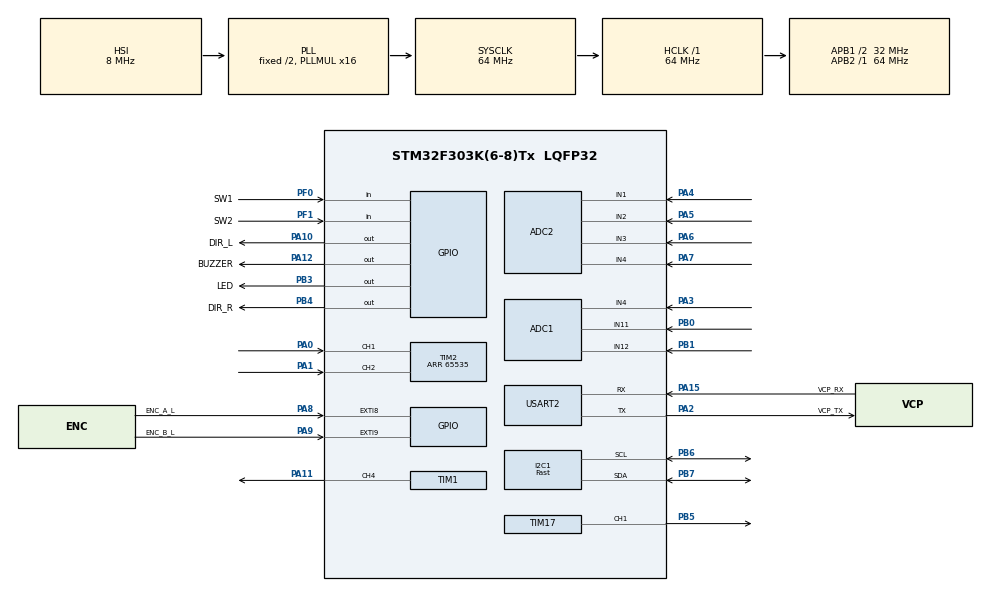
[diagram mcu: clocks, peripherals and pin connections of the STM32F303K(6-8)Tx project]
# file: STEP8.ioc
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ADC1.Channel-3\#ChannelRegularConversion=ADC_CHANNEL_4
ADC1.Channel-4\#ChannelRegularConversion=ADC_CHANNEL_11
ADC1.Channel-5\#ChannelRegularConversion=ADC_CHANNEL_12
ADC1.ContinuousConvMode=DISABLE
ADC1.DMAContinuousRequests=ENABLE
ADC1.DiscontinuousConvMode=ENABLE
ADC1.ExternalTrigConv=ADC_EXTERNALTRIGCONV_T3_TRGO
ADC1.NbrOfConversion=3
ADC1.NbrOfConversionFlag=1
ADC1.NbrOfDiscConversion=3
ADC1.Offset-3\#ChannelRegularConversion=0
ADC1.Offset-4\#ChannelRegularConversion=0
ADC1.Offset-5\#ChannelRegularConversion=0
ADC1.OffsetNumber-3\#ChannelRegularConversion=ADC_OFFSET_NONE
ADC1.OffsetNumber-4\#ChannelRegularConversion=ADC_OFFSET_NONE
ADC1.OffsetNumber-5\#ChannelRegularConversion=ADC_OFFSET_NONE
ADC1.Rank-3\#ChannelRegularConversion=1
ADC1.Rank-4\#ChannelRegularConversion=2
ADC1.Rank-5\#ChannelRegularConversion=3
ADC1.SamplingTime-3\#ChannelRegularConversion=ADC_SAMPLETIME_4CYCLES_5
ADC1.SamplingTime-4\#ChannelRegularConversion=ADC_SAMPLETIME_4CYCLES_5
ADC1.SamplingTime-5\#ChannelRegularConversion=ADC_SAMPLETIME_4CYCLES_5
ADC1.SubFamily=STM32F303x8
ADC1.master=1
ADC2.Channel-3\#ChannelRegularConversion=ADC_CHANNEL_1
ADC2.Channel-4\#ChannelRegularConversion=ADC_CHANNEL_2
ADC2.Channel-5\#ChannelRegularConversion=ADC_CHANNEL_3
ADC2.Channel-6\#ChannelRegularConversion=ADC_CHANNEL_4
ADC2.ContinuousConvMode=DISABLE
ADC2.DMAContinuousRequests=ENABLE
ADC2.DiscontinuousConvMode=ENABLE
ADC2.ExternalTrigConv=ADC_EXTERNALTRIGCONV_T3_TRGO
ADC2.NbrOfConversion=4
ADC2.NbrOfConversionFlag=1
ADC2.NbrOfDiscConversion=4
ADC2.Offset-3\#ChannelRegularConversion=0
ADC2.Offset-4\#ChannelRegularConversion=0
ADC2.Offset-5\#ChannelRegularConversion=0
ADC2.Offset-6\#ChannelRegularConversion=0
ADC2.OffsetNumber-3\#ChannelRegularConversion=ADC_OFFSET_NONE
ADC2.OffsetNumber-4\#ChannelRegularConversion=ADC_OFFSET_NONE
ADC2.OffsetNumber-5\#ChannelRegularConversion=ADC_OFFSET_NONE
ADC2.OffsetNumber-6\#ChannelRegularConversion=ADC_OFFSET_NONE
ADC2.Rank-3\#ChannelRegularConversion=1
ADC2.Rank-4\#ChannelRegularConversion=2
ADC2.Rank-5\#ChannelRegularConversion=3
ADC2.Rank-6\#ChannelRegularConversion=4
ADC2.SamplingTime-3\#ChannelRegularConversion=ADC_SAMPLETIME_4CYCLES_5
ADC2.SamplingTime-4\#ChannelRegularConversion=ADC_SAMPLETIME_4CYCLES_5
ADC2.SamplingTime-5\#ChannelRegularConversion=ADC_SAMPLETIME_4CYCLES_5
ADC2.SamplingTime-6\#ChannelRegularConversion=ADC_SAMPLETIME_4CYCLES_5
ADC2.SubFamily=STM32F303x8
Dma.ADC1.0.Direction=DMA_PERIPH_TO_MEMORY
Dma.ADC1.0.Instance=DMA1_Channel1
Dma.ADC1.0.MemDataAlignment=DMA_MDATAALIGN_HALFWORD
Dma.ADC1.0.MemInc=DMA_MINC_ENABLE
Dma.ADC1.0.Mode=DMA_CIRCULAR
Dma.ADC1.0.PeriphDataAlignment=DMA_PDATAALIGN_HALFWORD
Dma.ADC1.0.PeriphInc=DMA_PINC_DISABLE
Dma.ADC1.0.Priority=DMA_PRIORITY_LOW
Dma.ADC2.1.Direction=DMA_PERIPH_TO_MEMORY
Dma.ADC2.1.Instance=DMA1_Channel2
Dma.ADC2.1.MemDataAlignment=DMA_MDATAALIGN_HALFWORD
Dma.ADC2.1.MemInc=DMA_MINC_ENABLE
Dma.ADC2.1.Mode=DMA_CIRCULAR
Dma.ADC2.1.PeriphDataAlignment=DMA_PDATAALIGN_HALFWORD
Dma.ADC2.1.PeriphInc=DMA_PINC_DISABLE
Dma.ADC2.1.Priority=DMA_PRIORITY_LOW
Dma.I2C1_RX.2.Direction=DMA_PERIPH_TO_MEMORY
Dma.I2C1_RX.2.Instance=DMA1_Channel3
Dma.I2C1_RX.2.MemDataAlignment=DMA_MDATAALIGN_BYTE
Dma.I2C1_RX.2.MemInc=DMA_MINC_ENABLE
Dma.I2C1_RX.2.Mode=DMA_NORMAL
Dma.I2C1_RX.2.PeriphDataAlignment=DMA_PDATAALIGN_BYTE
Dma.I2C1_RX.2.PeriphInc=DMA_PINC_DISABLE
Dma.I2C1_RX.2.Priority=DMA_PRIORITY_LOW
Dma.I2C1_TX.3.Direction=DMA_MEMORY_TO_PERIPH
Dma.I2C1_TX.3.Instance=DMA1_Channel4
Dma.I2C1_TX.3.MemDataAlignment=DMA_MDATAALIGN_BYTE
Dma.I2C1_TX.3.MemInc=DMA_MINC_ENABLE
Dma.I2C1_TX.3.Mode=DMA_NORMAL
Dma.I2C1_TX.3.PeriphDataAlignment=DMA_PDATAALIGN_BYTE
Dma.I2C1_TX.3.PeriphInc=DMA_PINC_DISABLE
Dma.I2C1_TX.3.Priority=DMA_PRIORITY_LOW
Dma.Request0=ADC1
Dma.Request1=ADC2
Dma.Request2=I2C1_RX
Dma.Request3=I2C1_TX
I2C1.Analog_Filter=I2C_ANALOGFILTER_ENABLE
I2C1.I2C_Speed_Mode=I2C_Fast
I2C1.Speed=400
I2C1.Timing=0x0000020B
Mcu.Family=STM32F3
Mcu.Name=STM32F303K(6-8)Tx
Mcu.Package=LQFP32
NVIC.DMA1_Channel1_IRQn=true\:0\:0\:false\:false\:true\:false\:true
NVIC.DMA1_Channel2_IRQn=true\:0\:0\:false\:false\:true\:false\:true
NVIC.DMA1_Channel3_IRQn=true\:0\:0\:false\:false\:true\:false\:true
NVIC.DMA1_Channel4_IRQn=true\:0\:0\:false\:false\:true\:false\:true
NVIC.EXTI9_5_IRQn=true\:0\:0\:false\:false\:true\:true\:true
NVIC.I2C1_EV_IRQn=true\:0\:0\:false\:false\:true\:true\:true
NVIC.PriorityGroup=NVIC_PRIORITYGROUP_4
NVIC.TIM6_DAC1_IRQn=true\:0\:0\:false\:false\:true\:true\:true
NVIC.TIM7_DAC2_IRQn=true\:0\:0\:false\:false\:true\:true\:true
PA0.Signal=S_TIM2_CH1_ETR
PA1.Signal=S_TIM2_CH2
PA10.GPIO_Label=DIR_L
PA10.Signal=GPIO_Output
PA11.Signal=S_TIM1_CH4
PA12.GPIO_Label=BUZZER
PA12.Signal=GPIO_Output
PA13.GPIO_Label=SWDIO
PA13.Mode=Serial_Wire
PA13.Signal=SYS_JTMS-SWDIO
PA14.GPIO_Label=SWCLK
PA14.Mode=Serial_Wire
PA14.Signal=SYS_JTCK-SWCLK
PA15.GPIO_Label=VCP_RX
PA15.Mode=Asynchronous
PA15.Signal=USART2_RX
PA2.GPIO_Label=VCP_TX
PA2.Mode=Asynchronous
PA2.Signal=USART2_TX
PA3.Mode=IN4-Single-Ended
PA3.Signal=ADC1_IN4
PA4.Mode=IN1-Single-Ended
PA4.Signal=ADC2_IN1
PA5.Mode=IN2-Single-Ended
PA5.Signal=ADC2_IN2
PA6.Mode=IN3-Single-Ended
PA6.Signal=ADC2_IN3
PA7.Mode=IN4-Single-Ended
PA7.Signal=ADC2_IN4
PA8.GPIO_Label=ENC_A_L
PA8.GPIO_ModeDefaultEXTI=GPIO_MODE_IT_RISING_FALLING
PA8.Signal=GPXTI8
PA9.GPIO_Label=ENC_B_L
PA9.GPIO_ModeDefaultEXTI=GPIO_MODE_IT_RISING_FALLING
PA9.Signal=GPXTI9
PB0.Mode=IN11-Single-Ended
PB0.Signal=ADC1_IN11
PB1.Mode=IN12-Single-Ended
PB1.Signal=ADC1_IN12
PB3.GPIO_Label=LED
PB3.Signal=GPIO_Output
PB4.GPIO_Label=DIR_R
PB4.Signal=GPIO_Output
PB5.Signal=S_TIM17_CH1
PB6.GPIO_PuPdOD=GPIO_PULLUP
PB6.Mode=I2C
PB6.Signal=I2C1_SCL
PB7.GPIO_PuPdOD=GPIO_PULLUP
PB7.Mode=I2C
PB7.Signal=I2C1_SDA
PF0\ /\ OSC_IN.GPIO_Label=SW1
PF0\ /\ OSC_IN.GPIO_PuPd=GPIO_PULLUP
PF0\ /\ OSC_IN.Signal=GPIO_Input
PF1\ /\ OSC_OUT.GPIO_Label=SW2
PF1\ /\ OSC_OUT.GPIO_PuPd=GPIO_PULLUP
PF1\ /\ OSC_OUT.Signal=GPIO_Input
ProjectManager.HeapSize=0x200
ProjectManager.StackSize=0x400
ProjectManager.TargetToolchain=STM32CubeIDE
RCC.AHBFreq_Value=64000000
RCC.APB1CLKDivider=RCC_HCLK_DIV2
RCC.APB1Freq_Value=32000000
RCC.APB1TimFreq_Value=64000000
RCC.APB2Freq_Value=64000000
RCC.APB2TimFreq_Value=64000000
RCC.CortexFreq_Value=64000000
RCC.HCLKFreq_Value=64000000
RCC.HSE_VALUE=8000000
RCC.HSI_VALUE=8000000
RCC.PLLMUL=RCC_PLL_MUL16
RCC.SYSCLKFreq_VALUE=64000000
RCC.SYSCLKSourceVirtual=RCC_SYSCLKSOURCE_PLLCLK
SH.S_TIM17_CH1.0=TIM17_CH1,PWM Generation1 CH1
SH.S_TIM1_CH4.0=TIM1_CH4,PWM Generation4 CH4
SH.S_TIM2_CH1_ETR.0=TIM2_CH1,Encoder_Interface
SH.S_TIM2_CH2.0=TIM2_CH2,Encoder_Interface
TIM1.AutoReloadPreload=TIM_AUTORELOAD_PRELOAD_ENABLE
TIM1.Channel-PWM\ Generation4\ CH4=TIM_CHANNEL_4
TIM1.Period=3199
TIM1.Prescaler=0
TIM1.Pulse-PWM\ Generation4\ CH4=599
TIM17.AutoReloadPreload=TIM_AUTORELOAD_PRELOAD_ENABLE
TIM17.Channel=TIM_CHANNEL_1
TIM17.Period=3199
TIM17.Prescaler=0
TIM17.Pulse=599
TIM2.AutoReloadPreload=TIM_AUTORELOAD_PRELOAD_ENABLE
TIM2.EncoderMode=TIM_ENCODERMODE_TI12
TIM2.Period=65535
TIM3.AutoReloadPreload=TIM_AUTORELOAD_PRELOAD_ENABLE
TIM3.Period=999
TIM3.Prescaler=63
TIM3.TIM_MasterOutputTrigger=TIM_TRGO_UPDATE
TIM6.AutoReloadPreload=TIM_AUTORELOAD_PRELOAD_ENABLE
TIM6.Period=499
TIM6.Prescaler=63
TIM7.AutoReloadPreload=TIM_AUTORELOAD_PRELOAD_ENABLE
TIM7.Period=9999
TIM7.Prescaler=63
USART2.VirtualMode-Asynchronous=VM_ASYNC
VP_TIM17_VS_ClockSourceINT.Mode=Enable_Timer
VP_TIM3_VS_ClockSourceINT.Mode=Internal
VP_TIM6_VS_ClockSourceINT.Mode=Enable_Timer
VP_TIM7_VS_ClockSourceINT.Mode=Enable_Timer
board=NUCLEO-F303K8

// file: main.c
/* USER CODE BEGIN Header */
/**
  ******************************************************************************
  * @file           : main.c
  * @brief          : Main program body
  ******************************************************************************
  * @attention
  *
  * Copyright (c) 2020 RT Corporation
  * License: Apache License, Version 2.0
  * https://www.apache.org/licenses/LICENSE-2.0
  *
  * This file is licensed the Apache License, Version 2.0.
  * This file is based on the auto generated template .c file
  * released by STMicroelectronics licensed under the BSD 3-Clause License.
  *
  *=*=*=*=*=*=*=*=*=*=*=*=*=*=*=*=*=*=*=*=*=*=*=*=*=*=*=*=*=*=*=*=*=*=*=*=*=*=
  * <h2><center>&copy; Copyright (c) 2020 STMicroelectronics.
  * All rights reserved.</center></h2>
  *
  * This software component is licensed by ST under BSD 3-Clause license,
  * the "License"; You may not use this file except in compliance with the
  * License. You may obtain a copy of the License at:
  *                        opensource.org/licenses/BSD-3-Clause
  *=*=*=*=*=*=*=*=*=*=*=*=*=*=*=*=*=*=*=*=*=*=*=*=*=*=*=*=*=*=*=*=*=*=*=*=*=*=
  *
  ******************************************************************************
  */
/* USER CODE END Header */

#include "main.h"

/* USER CODE BEGIN Includes */
#include "stdio.h"
#include "stdlib.h"
/* USER CODE END Includes */

ADC_HandleTypeDef hadc1;
ADC_HandleTypeDef hadc2;
DMA_HandleTypeDef hdma_adc1;
DMA_HandleTypeDef hdma_adc2;

I2C_HandleTypeDef hi2c1;
DMA_HandleTypeDef hdma_i2c1_rx;
DMA_HandleTypeDef hdma_i2c1_tx;

TIM_HandleTypeDef htim1;
TIM_HandleTypeDef htim2;
TIM_HandleTypeDef htim3;
TIM_HandleTypeDef htim6;
TIM_HandleTypeDef htim7;
TIM_HandleTypeDef htim17;

UART_HandleTypeDef huart2;

void SystemClock_Config(void);
static void MX_GPIO_Init(void);
static void MX_DMA_Init(void);
static void MX_USART2_UART_Init(void);
static void MX_I2C1_Init(void);
static void MX_TIM1_Init(void);
static void MX_TIM2_Init(void);
static void MX_TIM17_Init(void);
static void MX_ADC1_Init(void);
static void MX_ADC2_Init(void);
static void MX_TIM3_Init(void);
static void MX_TIM6_Init(void);
static void MX_TIM7_Init(void);
/* USER CODE BEGIN PFP */
short ADC1_DATA[10];
short ADC2_DATA[10];
short *LINE_L2;
short *LINE_L1;
short *LINE_R1;
short *LINE_R2;
short *MARKER_R;
short *MARKER_L;

long Line_Controll;
int inside_offset = -450;
int outside_offset = -960;
int CW_R = 0 ;
int CCW_R = 1 ;
int CW_L = 1 ;
int CCW_L = 0 ;
int PWM_R_Value = 0;
int PWM_L_Value = 0;
//ラインが白の場合:1、ラインが黒の場合-1
int Line_signed = -1;
/* USER CODE END PFP */

/* USER CODE BEGIN 0 */
int __io_putchar(int ch){
	HAL_UART_Transmit(&huart2, (uint8_t *)&ch, 1, 0xFFFF);
	  return ch;
}
/* USER CODE END 0 */

int main(void)
{

  /* MCU Configuration--------------------------------------------------------*/

  /* Reset of all peripherals, Initializes the Flash interface and the Systick. */
  HAL_Init();

  /* Configure the system clock */
  SystemClock_Config();

  /* Initialize all configured peripherals */
  MX_GPIO_Init();
  MX_DMA_Init();
  MX_USART2_UART_Init();
  MX_I2C1_Init();
  MX_TIM1_Init();
  MX_TIM2_Init();
  MX_TIM17_Init();
  MX_ADC1_Init();
  MX_ADC2_Init();
  MX_TIM3_Init();
  MX_TIM6_Init();
  MX_TIM7_Init();
  /* USER CODE BEGIN 2 */
  LINE_L2 = &ADC2_DATA[2];
  LINE_L1 = &ADC2_DATA[1];
  LINE_R1 = &ADC2_DATA[0];
  LINE_R2 = &ADC1_DATA[0];
  MARKER_R = &ADC1_DATA[1];
  MARKER_L = &ADC1_DATA[2];

  //ADC開始
    HAL_ADC_Start_DMA(&hadc1,(uint32_t *)ADC1_DATA,3);
    HAL_ADC_Start_DMA(&hadc2,(uint32_t *)ADC2_DATA,4);
    HAL_TIM_Base_Start(&htim3);//1kHz
//モータ関係
    HAL_GPIO_WritePin(DIR_R_GPIO_Port,DIR_R_Pin,CW_R);
    HAL_GPIO_WritePin(DIR_L_GPIO_Port,DIR_L_Pin,CW_L);
    TIM1->CCR4=0;
    TIM17->CCR1=0;
    HAL_TIM_PWM_Start(&htim1,TIM_CHANNEL_4);
    HAL_TIM_PWM_Start(&htim17,TIM_CHANNEL_1);

  for(int i =0 ;i <2; i++){
	  HAL_GPIO_WritePin(LED_GPIO_Port,LED_Pin,1);
	  HAL_Delay(100);
	  HAL_GPIO_WritePin(LED_GPIO_Port,LED_Pin,0);
	  HAL_Delay(100);
  }

  while(1){
	  if(HAL_GPIO_ReadPin(SW2_GPIO_Port,SW2_Pin) == 0){
		  HAL_GPIO_WritePin(BUZZER_GPIO_Port,BUZZER_Pin,1);
		  HAL_Delay(100);
		  HAL_GPIO_WritePin(BUZZER_GPIO_Port,BUZZER_Pin,0);
		  HAL_Delay(100);
		  while(1){
			  printf("\n\r LL2=%d LL1=%d LR1=%d LR2=%d inside_Offset=%d outside_offset=%d ML=%d MR=%d",
					  ADC2_DATA[2],ADC2_DATA[1],ADC2_DATA[0],ADC1_DATA[0],
					  (*LINE_L1 - *LINE_R1),(*LINE_L2 - *LINE_R2),
					  *MARKER_L, *MARKER_R);
			  HAL_Delay(100);
			  if(HAL_GPIO_ReadPin(SW2_GPIO_Port,SW2_Pin) == 0){
				  HAL_Delay(200);
				  break;
			  }
		  }
	  }
	  if(HAL_GPIO_ReadPin(SW1_GPIO_Port,SW1_Pin) == 0){
		  HAL_GPIO_WritePin(LED_GPIO_Port,LED_Pin,1);
		  for(int i=0; i< 2; i++){
			  HAL_GPIO_WritePin(BUZZER_GPIO_Port,BUZZER_Pin,1);
			  HAL_Delay(70);
			  HAL_GPIO_WritePin(BUZZER_GPIO_Port,BUZZER_Pin,0);
			  HAL_Delay(70);
		  }
		  break;
	  }
  }
  /* USER CODE END 2 */

  /* Infinite loop */
  /* USER CODE BEGIN WHILE */
  while (1)
  {
	  if(Line_signed == 1 ){
		  if( *MARKER_R > 300){
			  HAL_GPIO_WritePin(LED_GPIO_Port,LED_Pin,0);
			  TIM1->CCR4 =0;
			  TIM17->CCR1 =0;
			  HAL_GPIO_WritePin(BUZZER_GPIO_Port,BUZZER_Pin,1);
			  HAL_Delay(100);
			  HAL_GPIO_WritePin(BUZZER_GPIO_Port,BUZZER_Pin,0);
			  while(1){
				  if(HAL_GPIO_ReadPin(SW1_GPIO_Port,SW1_Pin)==0){
					  HAL_GPIO_WritePin(LED_GPIO_Port,LED_Pin,1);
					  break;
				  }
			  }
		  }
	  }else{
		  if( *MARKER_R < 100){
			  HAL_GPIO_WritePin(LED_GPIO_Port,LED_Pin,0);
			  TIM1->CCR4 =0;
			  TIM17->CCR1 =0;
			  HAL_GPIO_WritePin(BUZZER_GPIO_Port,BUZZER_Pin,1);
			  HAL_Delay(100);
			  HAL_GPIO_WritePin(BUZZER_GPIO_Port,BUZZER_Pin,0);
			  while(1){
				  if(HAL_GPIO_ReadPin(SW1_GPIO_Port,SW1_Pin)==0){
					  HAL_GPIO_WritePin(LED_GPIO_Port,LED_Pin,1);
					  break;
				  }
			  }
		  }
	  }

	  Line_Controll = (*LINE_L1 - *LINE_R1 - inside_offset)
			          + 2 * (*LINE_L2 - *LINE_R2 - outside_offset);
	  PWM_L_Value = 1000 - Line_signed * Line_Controll /3;
	  PWM_R_Value = 1000 + Line_signed * Line_Controll /3;

	  if(PWM_L_Value < 0){
		  HAL_GPIO_WritePin(DIR_L_GPIO_Port,DIR_L_Pin,CCW_L);
	  }else{
		  HAL_GPIO_WritePin(DIR_L_GPIO_Port,DIR_L_Pin,CW_L);
	  }
	  PWM_L_Value = abs(PWM_L_Value);
	  if(PWM_L_Value > 3199){
		  PWM_L_Value = 3199;
	  }
	  if(PWM_L_Value <= 0){
		  PWM_L_Value = 0;
	  }
	  TIM1->CCR4 = PWM_L_Value;

	  if(PWM_R_Value < 0){
		  HAL_GPIO_WritePin(DIR_R_GPIO_Port,DIR_R_Pin,CCW_R);
	  }else{
		  HAL_GPIO_WritePin(DIR_R_GPIO_Port,DIR_R_Pin,CW_R);
	  }
	  PWM_R_Value = abs(PWM_R_Value);
	  if(PWM_R_Value > 3199){
		  PWM_R_Value = 3199;
	  }
	  if(PWM_R_Value <= 0){
		  PWM_R_Value = 0;
	  }
	  TIM17->CCR1 = PWM_R_Value;
    /* USER CODE END WHILE */

  }
}

void SystemClock_Config(void)
{
  RCC_OscInitTypeDef RCC_OscInitStruct = {0};
  RCC_ClkInitTypeDef RCC_ClkInitStruct = {0};
  RCC_PeriphCLKInitTypeDef PeriphClkInit = {0};

  /** Initializes the CPU, AHB and APB busses clocks
  */
  RCC_OscInitStruct.OscillatorType = RCC_OSCILLATORTYPE_HSI;
  RCC_OscInitStruct.HSIState = RCC_HSI_ON;
  RCC_OscInitStruct.HSICalibrationValue = RCC_HSICALIBRATION_DEFAULT;
  RCC_OscInitStruct.PLL.PLLState = RCC_PLL_ON;
  RCC_OscInitStruct.PLL.PLLSource = RCC_PLLSOURCE_HSI;
  RCC_OscInitStruct.PLL.PLLMUL = RCC_PLL_MUL16;
  if (HAL_RCC_OscConfig(&RCC_OscInitStruct) != HAL_OK)
  {
    Error_Handler();
  }
  /** Initializes the CPU, AHB and APB busses clocks
  */
  RCC_ClkInitStruct.ClockType = RCC_CLOCKTYPE_HCLK|RCC_CLOCKTYPE_SYSCLK
                              |RCC_CLOCKTYPE_PCLK1|RCC_CLOCKTYPE_PCLK2;
  RCC_ClkInitStruct.SYSCLKSource = RCC_SYSCLKSOURCE_PLLCLK;
  RCC_ClkInitStruct.AHBCLKDivider = RCC_SYSCLK_DIV1;
  RCC_ClkInitStruct.APB1CLKDivider = RCC_HCLK_DIV2;
  RCC_ClkInitStruct.APB2CLKDivider = RCC_HCLK_DIV1;

  if (HAL_RCC_ClockConfig(&RCC_ClkInitStruct, FLASH_LATENCY_2) != HAL_OK)
  {
    Error_Handler();
  }
  PeriphClkInit.PeriphClockSelection = RCC_PERIPHCLK_I2C1|RCC_PERIPHCLK_TIM1
                              |RCC_PERIPHCLK_ADC12;
  PeriphClkInit.Adc12ClockSelection = RCC_ADC12PLLCLK_DIV1;
  PeriphClkInit.I2c1ClockSelection = RCC_I2C1CLKSOURCE_HSI;
  PeriphClkInit.Tim1ClockSelection = RCC_TIM1CLK_HCLK;
  if (HAL_RCCEx_PeriphCLKConfig(&PeriphClkInit) != HAL_OK)
  {
    Error_Handler();
  }
}

static void MX_ADC1_Init(void)
{

  ADC_MultiModeTypeDef multimode = {0};
  ADC_ChannelConfTypeDef sConfig = {0};

  /** Common config
  */
  hadc1.Instance = ADC1;
  hadc1.Init.ClockPrescaler = ADC_CLOCK_ASYNC_DIV1;
  hadc1.Init.Resolution = ADC_RESOLUTION_12B;
  hadc1.Init.ScanConvMode = ADC_SCAN_ENABLE;
  hadc1.Init.ContinuousConvMode = DISABLE;
  hadc1.Init.DiscontinuousConvMode = ENABLE;
  hadc1.Init.NbrOfDiscConversion = 3;
  hadc1.Init.ExternalTrigConvEdge = ADC_EXTERNALTRIGCONVEDGE_RISING;
  hadc1.Init.ExternalTrigConv = ADC_EXTERNALTRIGCONV_T3_TRGO;
  hadc1.Init.DataAlign = ADC_DATAALIGN_RIGHT;
  hadc1.Init.NbrOfConversion = 3;
  hadc1.Init.DMAContinuousRequests = ENABLE;
  hadc1.Init.EOCSelection = ADC_EOC_SINGLE_CONV;
  hadc1.Init.LowPowerAutoWait = DISABLE;
  hadc1.Init.Overrun = ADC_OVR_DATA_OVERWRITTEN;
  if (HAL_ADC_Init(&hadc1) != HAL_OK)
  {
    Error_Handler();
  }
  /** Configure the ADC multi-mode
  */
  multimode.Mode = ADC_MODE_INDEPENDENT;
  if (HAL_ADCEx_MultiModeConfigChannel(&hadc1, &multimode) != HAL_OK)
  {
    Error_Handler();
  }
  /** Configure Regular Channel
  */
  sConfig.Channel = ADC_CHANNEL_4;
  sConfig.Rank = ADC_REGULAR_RANK_1;
  sConfig.SingleDiff = ADC_SINGLE_ENDED;
  sConfig.SamplingTime = ADC_SAMPLETIME_4CYCLES_5;
  sConfig.OffsetNumber = ADC_OFFSET_NONE;
  sConfig.Offset = 0;
  if (HAL_ADC_ConfigChannel(&hadc1, &sConfig) != HAL_OK)
  {
    Error_Handler();
  }
  /** Configure Regular Channel
  */
  sConfig.Channel = ADC_CHANNEL_11;
  sConfig.Rank = ADC_REGULAR_RANK_2;
  if (HAL_ADC_ConfigChannel(&hadc1, &sConfig) != HAL_OK)
  {
    Error_Handler();
  }
  /** Configure Regular Channel
  */
  sConfig.Channel = ADC_CHANNEL_12;
  sConfig.Rank = ADC_REGULAR_RANK_3;
  if (HAL_ADC_ConfigChannel(&hadc1, &sConfig) != HAL_OK)
  {
    Error_Handler();
  }

}

static void MX_ADC2_Init(void)
{

  ADC_ChannelConfTypeDef sConfig = {0};

  /** Common config
  */
  hadc2.Instance = ADC2;
  hadc2.Init.ClockPrescaler = ADC_CLOCK_ASYNC_DIV1;
  hadc2.Init.Resolution = ADC_RESOLUTION_12B;
  hadc2.Init.ScanConvMode = ADC_SCAN_ENABLE;
  hadc2.Init.ContinuousConvMode = DISABLE;
  hadc2.Init.DiscontinuousConvMode = ENABLE;
  hadc2.Init.NbrOfDiscConversion = 4;
  hadc2.Init.ExternalTrigConvEdge = ADC_EXTERNALTRIGCONVEDGE_RISING;
  hadc2.Init.ExternalTrigConv = ADC_EXTERNALTRIGCONV_T3_TRGO;
  hadc2.Init.DataAlign = ADC_DATAALIGN_RIGHT;
  hadc2.Init.NbrOfConversion = 4;
  hadc2.Init.DMAContinuousRequests = ENABLE;
  hadc2.Init.EOCSelection = ADC_EOC_SINGLE_CONV;
  hadc2.Init.LowPowerAutoWait = DISABLE;
  hadc2.Init.Overrun = ADC_OVR_DATA_OVERWRITTEN;
  if (HAL_ADC_Init(&hadc2) != HAL_OK)
  {
    Error_Handler();
  }
  /** Configure Regular Channel
  */
  sConfig.Channel = ADC_CHANNEL_1;
  sConfig.Rank = ADC_REGULAR_RANK_1;
  sConfig.SingleDiff = ADC_SINGLE_ENDED;
  sConfig.SamplingTime = ADC_SAMPLETIME_4CYCLES_5;
  sConfig.OffsetNumber = ADC_OFFSET_NONE;
  sConfig.Offset = 0;
  if (HAL_ADC_ConfigChannel(&hadc2, &sConfig) != HAL_OK)
  {
    Error_Handler();
  }
  /** Configure Regular Channel
  */
  sConfig.Channel = ADC_CHANNEL_2;
  sConfig.Rank = ADC_REGULAR_RANK_2;
  if (HAL_ADC_ConfigChannel(&hadc2, &sConfig) != HAL_OK)
  {
    Error_Handler();
  }
  /** Configure Regular Channel
  */
  sConfig.Channel = ADC_CHANNEL_3;
  sConfig.Rank = ADC_REGULAR_RANK_3;
  if (HAL_ADC_ConfigChannel(&hadc2, &sConfig) != HAL_OK)
  {
    Error_Handler();
  }
  /** Configure Regular Channel
  */
  sConfig.Channel = ADC_CHANNEL_4;
  sConfig.Rank = ADC_REGULAR_RANK_4;
  if (HAL_ADC_ConfigChannel(&hadc2, &sConfig) != HAL_OK)
  {
    Error_Handler();
  }

}

static void MX_I2C1_Init(void)
{

  hi2c1.Instance = I2C1;
  hi2c1.Init.Timing = 0x0000020B;
  hi2c1.Init.OwnAddress1 = 0;
  hi2c1.Init.AddressingMode = I2C_ADDRESSINGMODE_7BIT;
  hi2c1.Init.DualAddressMode = I2C_DUALADDRESS_DISABLE;
  hi2c1.Init.OwnAddress2 = 0;
  hi2c1.Init.OwnAddress2Masks = I2C_OA2_NOMASK;
  hi2c1.Init.GeneralCallMode = I2C_GENERALCALL_DISABLE;
  hi2c1.Init.NoStretchMode = I2C_NOSTRETCH_DISABLE;
  if (HAL_I2C_Init(&hi2c1) != HAL_OK)
  {
    Error_Handler();
  }
  /** Configure Analogue filter
  */
  if (HAL_I2CEx_ConfigAnalogFilter(&hi2c1, I2C_ANALOGFILTER_ENABLE) != HAL_OK)
  {
    Error_Handler();
  }
  /** Configure Digital filter
  */
  if (HAL_I2CEx_ConfigDigitalFilter(&hi2c1, 0) != HAL_OK)
  {
    Error_Handler();
  }

}

static void MX_TIM1_Init(void)
{

  TIM_MasterConfigTypeDef sMasterConfig = {0};
  TIM_OC_InitTypeDef sConfigOC = {0};
  TIM_BreakDeadTimeConfigTypeDef sBreakDeadTimeConfig = {0};

  htim1.Instance = TIM1;
  htim1.Init.Prescaler = 0;
  htim1.Init.CounterMode = TIM_COUNTERMODE_UP;
  htim1.Init.Period = 3199;
  htim1.Init.ClockDivision = TIM_CLOCKDIVISION_DIV1;
  htim1.Init.RepetitionCounter = 0;
  htim1.Init.AutoReloadPreload = TIM_AUTORELOAD_PRELOAD_ENABLE;
  if (HAL_TIM_PWM_Init(&htim1) != HAL_OK)
  {
    Error_Handler();
  }
  sMasterConfig.MasterOutputTrigger = TIM_TRGO_RESET;
  sMasterConfig.MasterOutputTrigger2 = TIM_TRGO2_RESET;
  sMasterConfig.MasterSlaveMode = TIM_MASTERSLAVEMODE_DISABLE;
  if (HAL_TIMEx_MasterConfigSynchronization(&htim1, &sMasterConfig) != HAL_OK)
  {
    Error_Handler();
  }
  sConfigOC.OCMode = TIM_OCMODE_PWM1;
  sConfigOC.Pulse = 599;
  sConfigOC.OCPolarity = TIM_OCPOLARITY_HIGH;
  sConfigOC.OCFastMode = TIM_OCFAST_DISABLE;
  sConfigOC.OCIdleState = TIM_OCIDLESTATE_RESET;
  sConfigOC.OCNIdleState = TIM_OCNIDLESTATE_RESET;
  if (HAL_TIM_PWM_ConfigChannel(&htim1, &sConfigOC, TIM_CHANNEL_4) != HAL_OK)
  {
    Error_Handler();
  }
  sBreakDeadTimeConfig.OffStateRunMode = TIM_OSSR_DISABLE;
  sBreakDeadTimeConfig.OffStateIDLEMode = TIM_OSSI_DISABLE;
  sBreakDeadTimeConfig.LockLevel = TIM_LOCKLEVEL_OFF;
  sBreakDeadTimeConfig.DeadTime = 0;
  sBreakDeadTimeConfig.BreakState = TIM_BREAK_DISABLE;
  sBreakDeadTimeConfig.BreakPolarity = TIM_BREAKPOLARITY_HIGH;
  sBreakDeadTimeConfig.BreakFilter = 0;
  sBreakDeadTimeConfig.Break2State = TIM_BREAK2_DISABLE;
  sBreakDeadTimeConfig.Break2Polarity = TIM_BREAK2POLARITY_HIGH;
  sBreakDeadTimeConfig.Break2Filter = 0;
  sBreakDeadTimeConfig.AutomaticOutput = TIM_AUTOMATICOUTPUT_DISABLE;
  if (HAL_TIMEx_ConfigBreakDeadTime(&htim1, &sBreakDeadTimeConfig) != HAL_OK)
  {
    Error_Handler();
  }
  HAL_TIM_MspPostInit(&htim1);

}

static void MX_TIM2_Init(void)
{

  TIM_Encoder_InitTypeDef sConfig = {0};
  TIM_MasterConfigTypeDef sMasterConfig = {0};

  htim2.Instance = TIM2;
  htim2.Init.Prescaler = 0;
  htim2.Init.CounterMode = TIM_COUNTERMODE_UP;
  htim2.Init.Period = 65535;
  htim2.Init.ClockDivision = TIM_CLOCKDIVISION_DIV1;
  htim2.Init.AutoReloadPreload = TIM_AUTORELOAD_PRELOAD_ENABLE;
  sConfig.EncoderMode = TIM_ENCODERMODE_TI12;
  sConfig.IC1Polarity = TIM_ICPOLARITY_RISING;
  sConfig.IC1Selection = TIM_ICSELECTION_DIRECTTI;
  sConfig.IC1Prescaler = TIM_ICPSC_DIV1;
  sConfig.IC1Filter = 0;
  sConfig.IC2Polarity = TIM_ICPOLARITY_RISING;
  sConfig.IC2Selection = TIM_ICSELECTION_DIRECTTI;
  sConfig.IC2Prescaler = TIM_ICPSC_DIV1;
  sConfig.IC2Filter = 0;
  if (HAL_TIM_Encoder_Init(&htim2, &sConfig) != HAL_OK)
  {
    Error_Handler();
  }
  sMasterConfig.MasterOutputTrigger = TIM_TRGO_RESET;
  sMasterConfig.MasterSlaveMode = TIM_MASTERSLAVEMODE_DISABLE;
  if (HAL_TIMEx_MasterConfigSynchronization(&htim2, &sMasterConfig) != HAL_OK)
  {
    Error_Handler();
  }

}

static void MX_TIM3_Init(void)
{

  TIM_ClockConfigTypeDef sClockSourceConfig = {0};
  TIM_MasterConfigTypeDef sMasterConfig = {0};

  htim3.Instance = TIM3;
  htim3.Init.Prescaler = 63;
  htim3.Init.CounterMode = TIM_COUNTERMODE_UP;
  htim3.Init.Period = 999;
  htim3.Init.ClockDivision = TIM_CLOCKDIVISION_DIV1;
  htim3.Init.AutoReloadPreload = TIM_AUTORELOAD_PRELOAD_ENABLE;
  if (HAL_TIM_Base_Init(&htim3) != HAL_OK)
  {
    Error_Handler();
  }
  sClockSourceConfig.ClockSource = TIM_CLOCKSOURCE_INTERNAL;
  if (HAL_TIM_ConfigClockSource(&htim3, &sClockSourceConfig) != HAL_OK)
  {
    Error_Handler();
  }
  sMasterConfig.MasterOutputTrigger = TIM_TRGO_UPDATE;
  sMasterConfig.MasterSlaveMode = TIM_MASTERSLAVEMODE_DISABLE;
  if (HAL_TIMEx_MasterConfigSynchronization(&htim3, &sMasterConfig) != HAL_OK)
  {
    Error_Handler();
  }

}

static void MX_TIM6_Init(void)
{

  TIM_MasterConfigTypeDef sMasterConfig = {0};

  htim6.Instance = TIM6;
  htim6.Init.Prescaler = 63;
  htim6.Init.CounterMode = TIM_COUNTERMODE_UP;
  htim6.Init.Period = 499;
  htim6.Init.AutoReloadPreload = TIM_AUTORELOAD_PRELOAD_ENABLE;
  if (HAL_TIM_Base_Init(&htim6) != HAL_OK)
  {
    Error_Handler();
  }
  sMasterConfig.MasterOutputTrigger = TIM_TRGO_RESET;
  sMasterConfig.MasterSlaveMode = TIM_MASTERSLAVEMODE_DISABLE;
  if (HAL_TIMEx_MasterConfigSynchronization(&htim6, &sMasterConfig) != HAL_OK)
  {
    Error_Handler();
  }

}

static void MX_TIM7_Init(void)
{

  TIM_MasterConfigTypeDef sMasterConfig = {0};

  htim7.Instance = TIM7;
  htim7.Init.Prescaler = 63;
  htim7.Init.CounterMode = TIM_COUNTERMODE_UP;
  htim7.Init.Period = 9999;
  htim7.Init.AutoReloadPreload = TIM_AUTORELOAD_PRELOAD_ENABLE;
  if (HAL_TIM_Base_Init(&htim7) != HAL_OK)
  {
    Error_Handler();
  }
  sMasterConfig.MasterOutputTrigger = TIM_TRGO_RESET;
  sMasterConfig.MasterSlaveMode = TIM_MASTERSLAVEMODE_DISABLE;
  if (HAL_TIMEx_MasterConfigSynchronization(&htim7, &sMasterConfig) != HAL_OK)
  {
    Error_Handler();
  }

}

static void MX_TIM17_Init(void)
{

  TIM_OC_InitTypeDef sConfigOC = {0};
  TIM_BreakDeadTimeConfigTypeDef sBreakDeadTimeConfig = {0};

  htim17.Instance = TIM17;
  htim17.Init.Prescaler = 0;
  htim17.Init.CounterMode = TIM_COUNTERMODE_UP;
  htim17.Init.Period = 3199;
  htim17.Init.ClockDivision = TIM_CLOCKDIVISION_DIV1;
  htim17.Init.RepetitionCounter = 0;
  htim17.Init.AutoReloadPreload = TIM_AUTORELOAD_PRELOAD_ENABLE;
  if (HAL_TIM_Base_Init(&htim17) != HAL_OK)
  {
    Error_Handler();
  }
  if (HAL_TIM_PWM_Init(&htim17) != HAL_OK)
  {
    Error_Handler();
  }
  sConfigOC.OCMode = TIM_OCMODE_PWM1;
  sConfigOC.Pulse = 599;
  sConfigOC.OCPolarity = TIM_OCPOLARITY_HIGH;
  sConfigOC.OCNPolarity = TIM_OCNPOLARITY_HIGH;
  sConfigOC.OCFastMode = TIM_OCFAST_DISABLE;
  sConfigOC.OCIdleState = TIM_OCIDLESTATE_RESET;
  sConfigOC.OCNIdleState = TIM_OCNIDLESTATE_RESET;
  if (HAL_TIM_PWM_ConfigChannel(&htim17, &sConfigOC, TIM_CHANNEL_1) != HAL_OK)
  {
    Error_Handler();
  }
  sBreakDeadTimeConfig.OffStateRunMode = TIM_OSSR_DISABLE;
  sBreakDeadTimeConfig.OffStateIDLEMode = TIM_OSSI_DISABLE;
  sBreakDeadTimeConfig.LockLevel = TIM_LOCKLEVEL_OFF;
  sBreakDeadTimeConfig.DeadTime = 0;
  sBreakDeadTimeConfig.BreakState = TIM_BREAK_DISABLE;
  sBreakDeadTimeConfig.BreakPolarity = TIM_BREAKPOLARITY_HIGH;
  sBreakDeadTimeConfig.BreakFilter = 0;
  sBreakDeadTimeConfig.AutomaticOutput = TIM_AUTOMATICOUTPUT_DISABLE;
  if (HAL_TIMEx_ConfigBreakDeadTime(&htim17, &sBreakDeadTimeConfig) != HAL_OK)
  {
    Error_Handler();
  }
  HAL_TIM_MspPostInit(&htim17);

}

static void MX_USART2_UART_Init(void)
{

  huart2.Instance = USART2;
  huart2.Init.BaudRate = 38400;
  huart2.Init.WordLength = UART_WORDLENGTH_8B;
  huart2.Init.StopBits = UART_STOPBITS_1;
  huart2.Init.Parity = UART_PARITY_NONE;
  huart2.Init.Mode = UART_MODE_TX_RX;
  huart2.Init.HwFlowCtl = UART_HWCONTROL_NONE;
  huart2.Init.OverSampling = UART_OVERSAMPLING_16;
  huart2.Init.OneBitSampling = UART_ONE_BIT_SAMPLE_DISABLE;
  huart2.AdvancedInit.AdvFeatureInit = UART_ADVFEATURE_NO_INIT;
  if (HAL_UART_Init(&huart2) != HAL_OK)
  {
    Error_Handler();
  }

}

static void MX_DMA_Init(void)
{

  /* DMA controller clock enable */
  __HAL_RCC_DMA1_CLK_ENABLE();

  /* DMA interrupt init */
  /* DMA1_Channel1_IRQn interrupt configuration */
  HAL_NVIC_SetPriority(DMA1_Channel1_IRQn, 0, 0);
  HAL_NVIC_EnableIRQ(DMA1_Channel1_IRQn);
  /* DMA1_Channel2_IRQn interrupt configuration */
  HAL_NVIC_SetPriority(DMA1_Channel2_IRQn, 0, 0);
  HAL_NVIC_EnableIRQ(DMA1_Channel2_IRQn);
  /* DMA1_Channel3_IRQn interrupt configuration */
  HAL_NVIC_SetPriority(DMA1_Channel3_IRQn, 0, 0);
  HAL_NVIC_EnableIRQ(DMA1_Channel3_IRQn);
  /* DMA1_Channel4_IRQn interrupt configuration */
  HAL_NVIC_SetPriority(DMA1_Channel4_IRQn, 0, 0);
  HAL_NVIC_EnableIRQ(DMA1_Channel4_IRQn);

}

static void MX_GPIO_Init(void)
{
  GPIO_InitTypeDef GPIO_InitStruct = {0};

  /* GPIO Ports Clock Enable */
  __HAL_RCC_GPIOF_CLK_ENABLE();
  __HAL_RCC_GPIOA_CLK_ENABLE();
  __HAL_RCC_GPIOB_CLK_ENABLE();

  /*Configure GPIO pin Output Level */
  HAL_GPIO_WritePin(GPIOA, DIR_L_Pin|BUZZER_Pin, GPIO_PIN_RESET);

  /*Configure GPIO pin Output Level */
  HAL_GPIO_WritePin(GPIOB, LED_Pin|DIR_R_Pin, GPIO_PIN_RESET);

  /*Configure GPIO pins : SW1_Pin SW2_Pin */
  GPIO_InitStruct.Pin = SW1_Pin|SW2_Pin;
  GPIO_InitStruct.Mode = GPIO_MODE_INPUT;
  GPIO_InitStruct.Pull = GPIO_PULLUP;
  HAL_GPIO_Init(GPIOF, &GPIO_InitStruct);

  /*Configure GPIO pin : ENC_A_L_Pin */
  GPIO_InitStruct.Pin = ENC_A_L_Pin;
  GPIO_InitStruct.Mode = GPIO_MODE_IT_RISING_FALLING;
  GPIO_InitStruct.Pull = GPIO_NOPULL;
  HAL_GPIO_Init(ENC_A_L_GPIO_Port, &GPIO_InitStruct);

  /*Configure GPIO pin : ENC_B_L_Pin */
  GPIO_InitStruct.Pin = ENC_B_L_Pin;
  GPIO_InitStruct.Mode = GPIO_MODE_IT_RISING;
  GPIO_InitStruct.Pull = GPIO_NOPULL;
  HAL_GPIO_Init(ENC_B_L_GPIO_Port, &GPIO_InitStruct);

  /*Configure GPIO pins : DIR_L_Pin BUZZER_Pin */
  GPIO_InitStruct.Pin = DIR_L_Pin|BUZZER_Pin;
  GPIO_InitStruct.Mode = GPIO_MODE_OUTPUT_PP;
  GPIO_InitStruct.Pull = GPIO_NOPULL;
  GPIO_InitStruct.Speed = GPIO_SPEED_FREQ_LOW;
  HAL_GPIO_Init(GPIOA, &GPIO_InitStruct);

  /*Configure GPIO pins : LED_Pin DIR_R_Pin */
  GPIO_InitStruct.Pin = LED_Pin|DIR_R_Pin;
  GPIO_InitStruct.Mode = GPIO_MODE_OUTPUT_PP;
  GPIO_InitStruct.Pull = GPIO_NOPULL;
  GPIO_InitStruct.Speed = GPIO_SPEED_FREQ_LOW;
  HAL_GPIO_Init(GPIOB, &GPIO_InitStruct);

  /* EXTI interrupt init*/
  HAL_NVIC_SetPriority(EXTI9_5_IRQn, 0, 0);
  HAL_NVIC_EnableIRQ(EXTI9_5_IRQn);

}

void Error_Handler(void)
{
}

/************************ (C) COPYRIGHT STMicroelectronics *****END OF FILE****/
